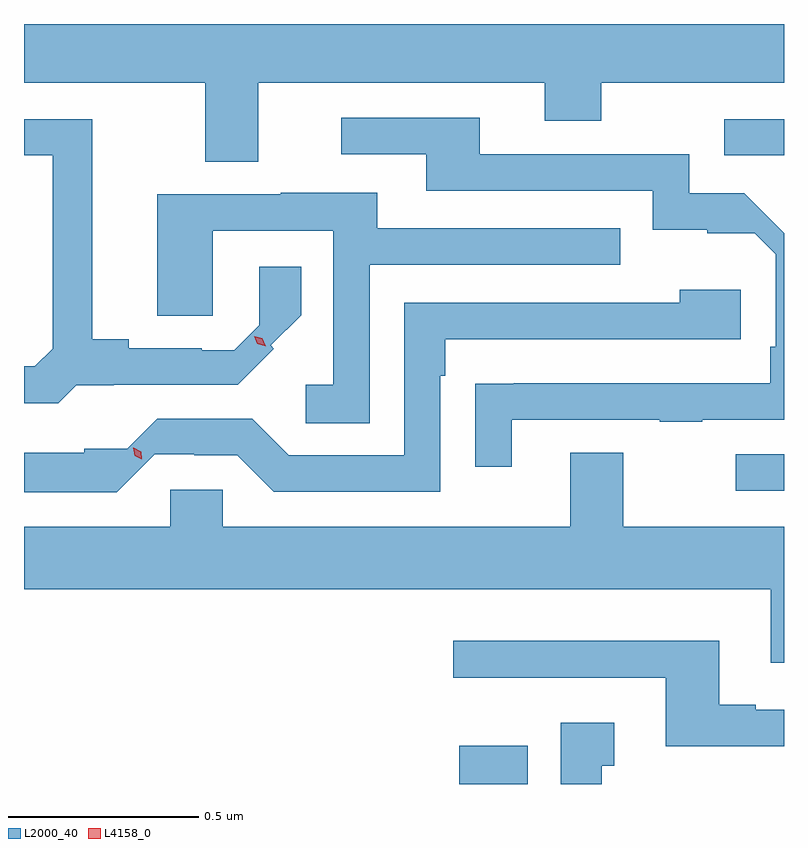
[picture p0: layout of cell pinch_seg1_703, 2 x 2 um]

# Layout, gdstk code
import gdstk
lib = gdstk.Library(unit=1e-6, precision=1e-09)
def R(c, l, rs):  # rectangles x0, y0, x1, y1
    for r in rs: c.add(gdstk.rectangle(r[:2], r[2:], *l))
def P(c, l, *ps):  # polygons
    for p in ps: c.add(gdstk.Polygon(p, *l))
L2000_40 = (2000, 40)
L4158_0 = (4158, 0)

pinch_seg1_703 = lib.new_cell('pinch_seg1_703')
R(pinch_seg1_703, L2000_40, [(658.628,545.891,658.807,545.992), (659.355,546.663,659.482,546.759), (659.325,547.545,659.482,547.641)])
P(pinch_seg1_703, L2000_40, [(658.099,547.736),(658.853,547.736),(658.853,547.637),(659.001,547.637),(659.001,547.736),(659.482,547.736),(659.482,547.891),(657.482,547.891),(657.482,547.736),(657.959,547.736),(657.959,547.528),(658.099,547.528)],
  [(658.765,546.849),(659.155,546.849),(659.155,546.844),(659.267,546.844),(659.267,546.849),(659.482,546.849),(659.482,547.341),(659.377,547.446),(659.232,547.446),(659.232,547.548),(658.681,547.548),(658.681,547.644),(658.317,547.644),(658.317,547.548),(658.541,547.548),(658.541,547.452),(659.136,547.452),(659.136,547.349),(659.28,547.349),(659.28,547.34),(659.405,547.34),(659.46,547.285),(659.46,547.042),(659.446,547.042),(659.446,546.945),(658.771,546.945),(658.771,546.944),(658.669,546.944),(658.669,546.726),(658.765,546.726)],
  [(657.62,546.941),(657.718,546.941),(657.718,546.942),(658.045,546.942),(658.139,547.036),(658.131,547.045),(658.211,547.125),(658.211,547.252),(658.101,547.252),(658.101,547.098),(658.035,547.032),(657.95,547.032),(657.95,547.038),(657.757,547.038),(657.757,547.061),(657.661,547.061),(657.661,547.641),(657.482,547.641),(657.482,547.545),(657.557,547.545),(657.557,547.037),(657.51,546.99),(657.482,546.99),(657.482,546.893),(657.572,546.893)],
  [(658.392,547.257),(659.051,547.257),(659.051,547.353),(658.411,547.353),(658.411,547.447),(658.157,547.447),(658.157,547.443),(657.833,547.443),(657.833,547.123),(657.979,547.123),(657.979,547.347),(658.296,547.347),(658.296,546.942),(658.224,546.942),(658.224,546.841),(658.392,546.841)],
  [(657.826,546.759),(657.93,546.759),(657.93,546.756),(658.043,546.756),(658.139,546.66),(658.578,546.66),(658.578,546.965),(658.591,546.965),(658.591,547.062),(659.368,547.062),(659.368,547.192),(659.207,547.192),(659.207,547.158),(658.482,547.158),(658.482,546.756),(658.179,546.756),(658.083,546.852),(657.833,546.852),(657.754,546.773),(657.64,546.773),(657.64,546.763),(657.482,546.763),(657.482,546.659),(657.726,546.659)],
  [(659.482,546.568),(659.059,546.568),(659.059,546.763),(658.919,546.763),(658.919,546.568),(658.005,546.568),(658.005,546.666),(657.867,546.666),(657.867,546.568),(657.482,546.568),(657.482,546.404),(659.447,546.404),(659.447,546.21),(659.482,546.21)],
  [(659.482,546.087),(659.407,546.087),(659.407,546.1),(659.311,546.1),(659.311,546.268),(658.611,546.268),(658.611,546.171),(659.171,546.171),(659.171,545.99),(659.482,545.99)],
  [(659.002,545.939),(659.035,545.939),(659.035,546.052),(658.895,546.052),(658.895,545.891),(659.002,545.891)])
P(pinch_seg1_703, L4158_0, [(657.792,546.745),(657.773,546.755),(657.77,546.776),(657.77,546.776),(657.771,546.776),(657.79,546.766),(657.792,546.745),(657.792,546.745)],
  [(658.118,547.043),(658.096,547.049),(658.088,547.069),(658.088,547.069),(658.088,547.069),(658.109,547.064),(658.118,547.043),(658.118,547.043)])

lib.write_gds('pinch_seg1_703.gds')
